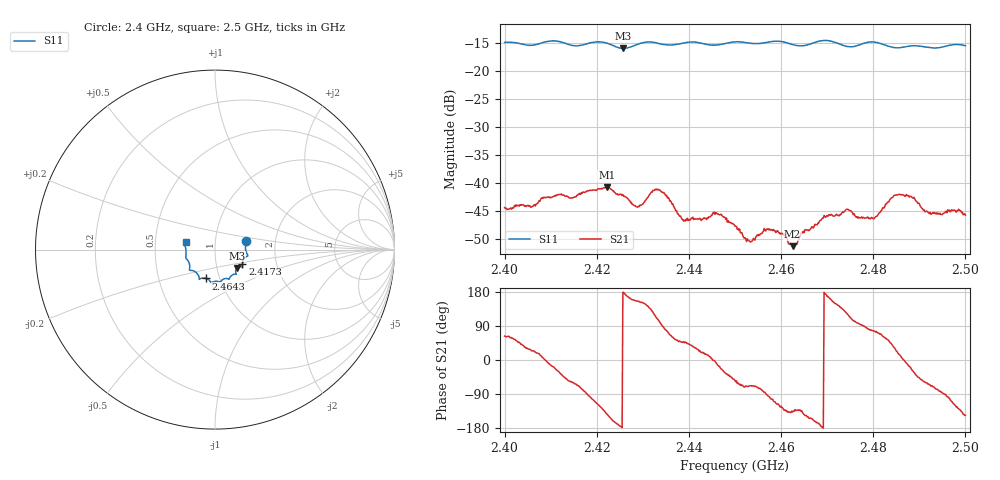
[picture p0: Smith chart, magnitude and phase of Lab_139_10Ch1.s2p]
# Hz S RI R 50
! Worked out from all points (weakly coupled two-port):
!   601 points, 2.4 GHz to 2.5 GHz, reference 50 ohm
!   highest |S21| = -40.77 dB at 2.4222 GHz (marker M1); lowest = -51.3 dB at 2.4625 GHz (marker M2)
!   lowest |S11| = -15.9 dB at 2.4257 GHz (marker M3), VSWR 1.38, Z = 62.5 - j13.1 ohm
!   |S11| at or under -10 dB: start of sweep to end of sweep
!   S12 and S22 are empty: the file has one direction only
!   S11 on the Smith chart (normalised r, x): 2.4 GHz: 1.41, +0.14; 2.4173 GHz: 1.34, -0.23; 2.4643 GHz: 0.86, -0.29; 2.5 GHz: 0.72, +0.06
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2.4e9  0.1737 0.0493  0.00273 0.00538  0 0  0 0
2.416667e9  0.1534 -0.0744  0.002 -0.00791  0 0  0 0
2.417333e9  0.1527 -0.0818  0.00103 -0.00815  0 0  0 0
2.422167e9  0.151 -0.0949  -0.00719 -0.00566  0 0  0 0
2.425667e9  0.1227 -0.1025  -0.00786 0.000155  0 0  0 0
2.429e9  0.1155 -0.1312  -0.00557 0.00265  0 0  0 0
2.433333e9  0.1132 -0.1365  -0.00243 0.00843  0 0  0 0
2.438833e9  0.081 -0.1588  0.00305 0.00339  0 0  0 0
2.445667e9  0.0502 -0.1634  0.00523 -0.00033  0 0  0 0
2.45e9  0.0293 -0.1808  0.0024 -0.00334  0 0  0 0
2.453e9  0.0175 -0.1775  0.00111 -0.00284  0 0  0 0
2.457333e9  -0.0151 -0.1817  -0.000403 -0.00378  0 0  0 0
2.4625e9  -0.0326 -0.1698  -0.002 -0.00185  0 0  0 0
2.464333e9  -0.0499 -0.1609  -0.00254 -0.0025  0 0  0 0
2.466667e9  -0.0761 -0.1596  -0.00368 -0.00173  0 0  0 0
2.4695e9  -0.0879 -0.1664  -0.00498 0.000387  0 0  0 0
2.474333e9  -0.1 -0.1326  -0.00307 0.00493  0 0  0 0
2.480333e9  -0.143 -0.1126  0.00116 0.00476  0 0  0 0
2.483333e9  -0.1407 -0.0902  0.00418 0.0053  0 0  0 0
2.487667e9  -0.1589 -0.0525  0.00748 -0.00196  0 0  0 0
2.492167e9  -0.1607 -0.0237  0.00225 -0.00483  0 0  0 0
2.5e9  -0.1638 0.0418  -0.00429 -0.00287  0 0  0 0
